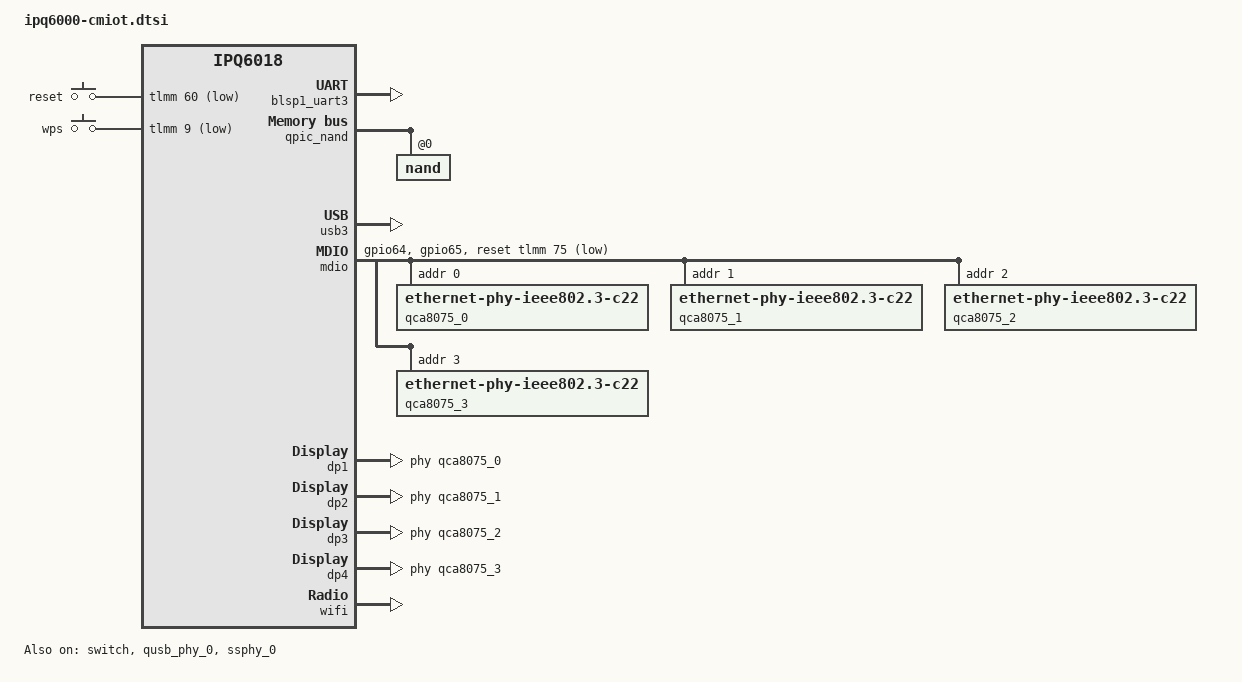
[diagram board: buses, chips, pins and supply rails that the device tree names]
// SPDX-License-Identifier: (GPL-2.0+)

/dts-v1/;

#include "ipq6018-256m.dtsi"
#include "ipq6018-ess.dtsi"
#include "ipq6018-opp.dtsi"


#include <dt-bindings/input/input.h>
#include <dt-bindings/gpio/gpio.h>

/ {
	aliases {
		serial0 = &blsp1_uart3;

		/* Aliases as required by u-boot to patch MAC addresses */
		ethernet0 = &dp1;
		ethernet1 = &dp2;
		ethernet2 = &dp3;
		ethernet3 = &dp4;
	};

    /delete-node/ rpm-glink;

	chosen {
		bootargs-append = " root=/dev/ubiblock0_1 swiotlb=1";
	};

	keys {
		compatible = "gpio-keys";

		reset {
			label = "reset";
			gpios = <&tlmm 60 GPIO_ACTIVE_LOW>;
			linux,code = <KEY_RESTART>;
		};

		wps {
			label = "wps";
			gpios = <&tlmm 9 GPIO_ACTIVE_LOW>;
			linux,code = <KEY_WPS_BUTTON>;
		};
	};
};

&blsp1_uart3 {
	pinctrl-0 = <&serial_3_pins>;
	pinctrl-names = "default";
	status = "okay";
};

&tlmm {
	mdio_pins: mdio-pins {
		mdc {
			pins = "gpio64";
			function = "mdc";
			drive-strength = <8>;
			bias-pull-up;
		};

		mdio {
			pins = "gpio65";
			function = "mdio";
			drive-strength = <8>;
			bias-pull-up;
		};
	};

    button_pins: button_pins {
		wps_button {
			pins = "gpio9";
			function = "gpio";
			drive-strength = <8>;
			bias-pull-up;
		};

		reset_button {
			pins = "gpio60";
			function = "gpio";
			drive-strength = <8>;
			bias-pull-up;
		};
	};
};

&switch {
	status = "okay";

	switch_cpu_bmp = <0x1>;  /* cpu port bitmap */
	switch_lan_bmp = <0xe>;  /* lan port bitmap */
	switch_wan_bmp = <0x10>; /* wan port bitmap */
	switch_inner_bmp = <0xc0>; /*inner port bitmap*/
	switch_mac_mode = <0x0>; /* mac mode for uniphy 0*/
	switch_mac_mode1 = <0xff>; /* mac mode for uniphy 1*/
	switch_mac_mode2 = <0xff>; /* mac mode for uniphy 2*/

	qcom,port_phyinfo {
		port@0 {
			port_id = <1>;
			phy_address = <0>;
		};
		port@1 {
			port_id = <2>;
			phy_address = <1>;
		};
		port@2 {
			port_id = <3>;
			phy_address = <2>;
		};
		port@3 {
			port_id = <4>;
			phy_address = <3>;
		};
	};
};

&edma {
	status = "okay";
};

&qpic_nand {
	status = "okay";

	nand@0 {
		reg = <0>;

		nand-ecc-strength = <4>;
		nand-ecc-step-size = <512>;
		nand-bus-width = <8>;
	};
};

&qusb_phy_0 {
	status = "okay";
};

&ssphy_0 {
	status = "okay";
};

&usb3 {
	status = "okay";
};

&mdio {
	status = "okay";

	pinctrl-0 = <&mdio_pins>;
	pinctrl-names = "default";
	reset-gpios = <&tlmm 75 GPIO_ACTIVE_LOW>;

	qca8075_0: ethernet-phy@0 {
		compatible = "ethernet-phy-ieee802.3-c22";
		reg = <0>;
	};

	qca8075_1: ethernet-phy@1 {
		compatible = "ethernet-phy-ieee802.3-c22";
		reg = <1>;
	};

	qca8075_2: ethernet-phy@2 {
		compatible = "ethernet-phy-ieee802.3-c22";
		reg = <2>;
	};

	qca8075_3: ethernet-phy@3 {
		compatible = "ethernet-phy-ieee802.3-c22";
		reg = <3>;
	};
};

&dp1 {
	status = "okay";
	phy-handle = <&qca8075_0>;
	label = "wan";
};

&dp2 {
	status = "okay";
	phy-handle = <&qca8075_1>;
	label = "lan1";
};

&dp3 {
	status = "okay";
	phy-handle = <&qca8075_2>;
	label = "lan2";
};

&dp4 {
	status = "okay";
	phy-handle = <&qca8075_3>;
	label = "lan3";
};

&wifi {
	status = "okay";
	qcom,ath11k-fw-memory-mode = <2>;
 };
